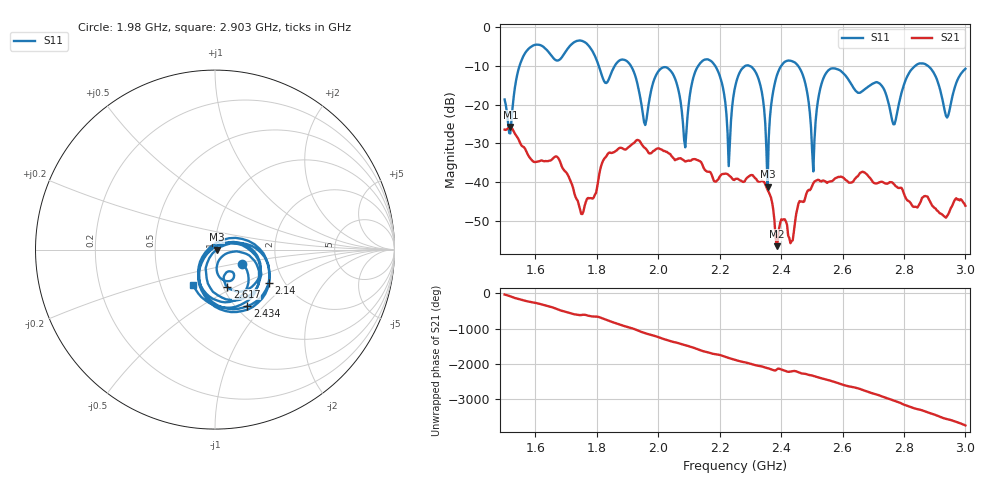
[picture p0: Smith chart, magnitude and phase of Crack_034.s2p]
# HZ S RI R 50
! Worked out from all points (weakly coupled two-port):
!   404 points, 1.5 GHz to 3 GHz, reference 50 ohm
!   highest |S21| = -25.79 dB at 1.519 GHz (marker M1); lowest = -56.4 dB at 2.386 GHz (marker M2)
!   lowest |S11| = -41.1 dB at 2.356 GHz (marker M3), VSWR 1.02, Z = 50.9 - j0.0186 ohm
!   |S11| at or under -10 dB: 1.911 GHz to 2.131 GHz (219.9 MHz wide, 10.9 % of centre); 2.455 GHz to 2.837 GHz (382 MHz wide, 14.4 % of centre); 2.877 GHz to end of sweep (the widest 3 of 7)
!   S12 and S22 are empty: the file has one direction only
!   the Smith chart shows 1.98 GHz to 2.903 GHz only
!   S11 on the Smith chart (normalised r, x): 1.98 GHz: 1.34, -0.21; 2.14 GHz: 1.68, -0.71; 2.434 GHz: 1.12, -0.82; 2.617 GHz: 1.05, -0.45; 2.903 GHz: 0.73, -0.30
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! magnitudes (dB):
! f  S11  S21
! 1.5 GHz  -18.7  -26.4
! 1.519 GHz  -27.4  -25.8
! 1.574 GHz  -5.9  -32.7
! 1.753 GHz  -3.6  -48.2
! 1.958 GHz  -25.3  -31.2
! 1.98 GHz  -15.3  -32.3
! 2.002 GHz  -11.2  -31.3
! 2.088 GHz  -31.0  -34.6
! 2.14 GHz  -9.0  -34.8
! 2.23 GHz  -35.8  -38.2
! 2.252 GHz  -14.9  -39.1
! 2.315 GHz  -11.4  -38.9
! 2.356 GHz  -41.1  -42.0
! 2.386 GHz  -12.6  -56.4
! 2.434 GHz  -8.8  -55.2
! 2.501 GHz  -32.1  -40.9
! 2.546 GHz  -12.0  -39.9
! 2.617 GHz  -13.2  -39.8
! 2.751 GHz  -19.9  -40.1
! 2.903 GHz  -12.8  -46.8
! 2.94 GHz  -23.3  -48.7
! 3 GHz  -10.8  -46.0
